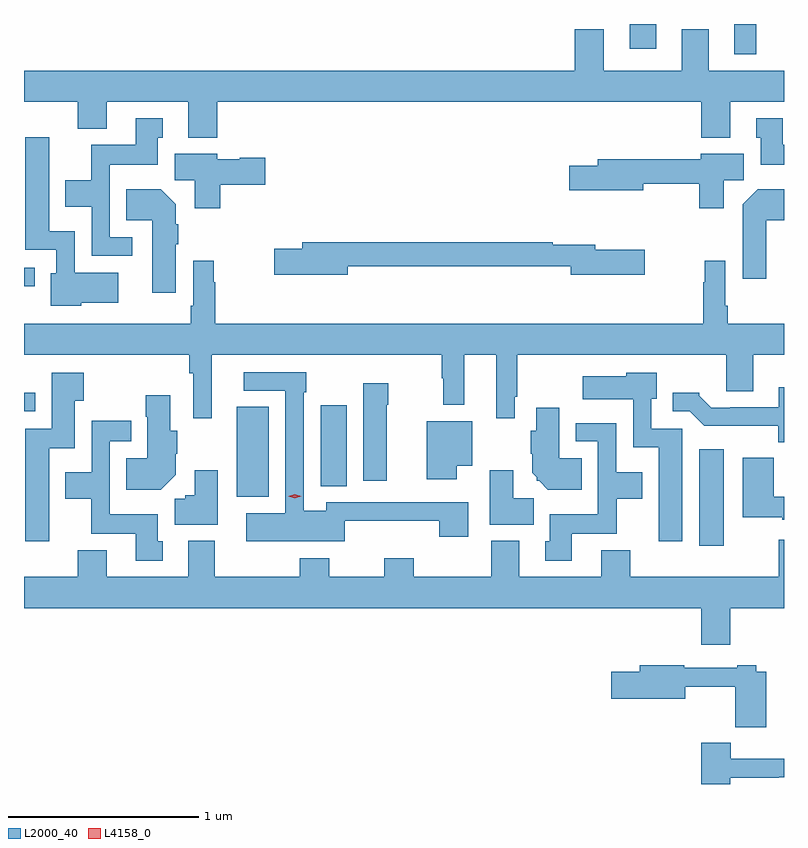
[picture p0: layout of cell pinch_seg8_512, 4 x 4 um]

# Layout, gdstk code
import gdstk
lib = gdstk.Library(unit=1e-6, precision=1e-09)
def R(c, l, rs):  # rectangles x0, y0, x1, y1
    for r in rs: c.add(gdstk.rectangle(r[:2], r[2:], *l))
def P(c, l, *ps):  # polygons
    for p in ps: c.add(gdstk.Polygon(p, *l))
L2000_40 = (2000, 40)
L4158_0 = (4158, 0)

pinch_seg8_512 = lib.new_cell('pinch_seg8_512')
R(pinch_seg8_512, L2000_40, [(230.177,1120.824,230.308,1121.332), (227.744,1121.081,227.911,1121.555), (228.185,1121.137,228.322,1121.563), (226.624,1121.532,226.684,1121.629), (226.624,1122.191,226.681,1122.288), (230.363,1123.41,230.479,1123.57), (229.811,1123.44,229.951,1123.57)])
P(pinch_seg8_512, L2000_40, [(226.624,1123.16),(226.907,1123.16),(226.907,1123.019),(227.059,1123.019),(227.059,1123.16),(227.489,1123.16),(227.489,1122.971),(227.642,1122.971),(227.642,1123.16),(230.189,1123.16),(230.189,1122.971),(230.341,1122.971),(230.341,1123.16),(230.624,1123.16),(230.624,1123.324),(230.227,1123.324),(230.227,1123.543),(230.087,1123.543),(230.087,1123.324),(229.675,1123.324),(229.675,1123.543),(229.523,1123.543),(229.523,1123.324),(226.624,1123.324)],
  [(227.194,1122.447),(227.076,1122.447),(227.076,1122.83),(227.329,1122.83),(227.329,1122.972),(227.353,1122.972),(227.353,1123.075),(227.213,1123.075),(227.213,1122.934),(226.978,1122.934),(226.978,1122.748),(226.841,1122.748),(226.841,1122.608),(226.98,1122.608),(226.98,1122.351),(227.194,1122.351)],
  [(230.624,1122.934),(230.617,1122.934),(230.617,1123.075),(230.477,1123.075),(230.477,1122.972),(230.501,1122.972),(230.501,1122.83),(230.624,1122.83)],
  [(226.926,1122.104),(227.119,1122.104),(227.119,1122.262),(226.89,1122.262),(226.89,1122.478),(226.756,1122.478),(226.756,1122.973),(226.631,1122.973),(226.631,1122.381),(226.794,1122.381),(226.794,1122.258),(226.766,1122.258),(226.766,1122.086),(226.926,1122.086)],
  [(230.308,1122.748),(230.413,1122.748),(230.413,1122.886),(230.186,1122.886),(230.186,1122.859),(229.643,1122.859),(229.643,1122.825),(229.494,1122.825),(229.494,1122.695),(229.882,1122.695),(229.882,1122.73),(230.179,1122.73),(230.179,1122.6),(230.308,1122.6)],
  [(227.657,1122.725),(227.893,1122.725),(227.893,1122.867),(227.76,1122.867),(227.76,1122.859),(227.64,1122.859),(227.64,1122.886),(227.417,1122.886),(227.417,1122.748),(227.522,1122.748),(227.522,1122.6),(227.657,1122.6)],
  [(230.53,1122.536),(230.624,1122.536),(230.624,1122.7),(230.486,1122.7),(230.408,1122.622),(230.408,1122.228),(230.53,1122.228)],
  [(227.422,1122.412),(227.435,1122.412),(227.435,1122.515),(227.422,1122.515),(227.422,1122.622),(227.344,1122.7),(227.161,1122.7),(227.161,1122.536),(227.3,1122.536),(227.3,1122.156),(227.422,1122.156)],
  [(228.328,1122.294),(229.502,1122.294),(229.502,1122.251),(229.891,1122.251),(229.891,1122.381),(229.63,1122.381),(229.63,1122.407),(229.406,1122.407),(229.406,1122.422),(228.089,1122.422),(228.089,1122.386),(227.94,1122.386),(227.94,1122.251),(228.328,1122.251)],
  [(227.63,1122.212),(227.623,1122.212),(227.623,1122.325),(227.514,1122.325),(227.514,1122.088),(227.502,1122.088),(227.502,1121.992),(226.624,1121.992),(226.624,1121.828),(227.494,1121.828),(227.494,1121.732),(227.514,1121.732),(227.514,1121.496),(227.611,1121.496),(227.611,1121.828),(228.823,1121.828),(228.823,1121.705),(228.831,1121.705),(228.831,1121.565),(228.94,1121.565),(228.94,1121.828),(229.109,1121.828),(229.109,1121.496),(229.206,1121.496),(229.206,1121.608),(229.219,1121.608),(229.219,1121.828),(230.321,1121.828),(230.321,1121.638),(230.461,1121.638),(230.461,1121.828),(230.624,1121.828),(230.624,1121.992),(230.329,1121.992),(230.329,1122.088),(230.316,1122.088),(230.316,1122.325),(230.208,1122.325),(230.208,1122.212),(230.2,1122.212),(230.2,1121.992),(227.63,1121.992)],
  [(228.312,1120.955),(228.809,1120.955),(228.809,1120.872),(228.961,1120.872),(228.961,1121.052),(228.216,1121.052),(228.216,1121.008),(228.096,1121.008),(228.096,1121.633),(228.109,1121.633),(228.109,1121.736),(227.781,1121.736),(227.781,1121.64),(228,1121.64),(228,1120.996),(227.793,1120.996),(227.793,1120.847),(228.312,1120.847)],
  [(226.756,1121.336),(226.891,1121.336),(226.891,1121.587),(226.938,1121.587),(226.938,1121.734),(226.769,1121.734),(226.769,1121.439),(226.631,1121.439),(226.631,1120.848),(226.756,1120.848)],
  [(230.089,1121.439),(229.926,1121.439),(229.926,1121.598),(229.954,1121.598),(229.954,1121.734),(229.794,1121.734),(229.794,1121.716),(229.566,1121.716),(229.566,1121.594),(229.83,1121.594),(229.83,1121.342),(229.964,1121.342),(229.964,1120.848),(230.089,1120.848)],
  [(228.532,1121.567),(228.54,1121.567),(228.54,1121.68),(228.41,1121.68),(228.41,1121.166),(228.532,1121.166)],
  [(230.624,1121.659),(230.597,1121.659),(230.597,1121.553),(230.341,1121.553),(230.341,1121.55),(230.242,1121.55),(230.178,1121.614),(230.178,1121.629),(230.039,1121.629),(230.039,1121.532),(230.127,1121.532),(230.203,1121.456),(230.595,1121.456),(230.595,1121.369),(230.624,1121.369)],
  [(227.422,1121.198),(227.422,1121.308),(227.43,1121.308),(227.43,1121.43),(227.395,1121.43),(227.395,1121.617),(227.266,1121.617),(227.266,1121.504),(227.273,1121.504),(227.273,1121.284),(227.161,1121.284),(227.161,1121.12),(227.344,1121.12)],
  [(229.559,1121.284),(229.441,1121.284),(229.441,1121.551),(229.319,1121.551),(229.319,1121.43),(229.291,1121.43),(229.291,1121.308),(229.298,1121.308),(229.298,1121.209),(229.323,1121.184),(229.323,1121.166),(229.335,1121.166),(229.381,1121.12),(229.559,1121.12)],
  [(227.353,1120.848),(227.329,1120.848),(227.329,1120.99),(227.076,1120.99),(227.076,1121.373),(227.188,1121.373),(227.188,1121.481),(226.98,1121.481),(226.98,1121.212),(226.841,1121.212),(226.841,1121.072),(226.978,1121.072),(226.978,1120.886),(227.213,1120.886),(227.213,1120.746),(227.353,1120.746)],
  [(228.901,1121.246),(228.982,1121.246),(228.982,1121.479),(228.743,1121.479),(228.743,1121.175),(228.901,1121.175)],
  [(229.507,1120.886),(229.743,1120.886),(229.743,1121.072),(229.879,1121.072),(229.879,1121.212),(229.74,1121.212),(229.74,1121.469),(229.527,1121.469),(229.527,1121.373),(229.644,1121.373),(229.644,1120.99),(229.391,1120.99),(229.391,1120.848),(229.367,1120.848),(229.367,1120.746),(229.507,1120.746)],
  [(230.624,1121.083),(230.57,1121.083),(230.57,1121.287),(230.408,1121.287),(230.408,1120.973),(230.616,1120.973),(230.616,1120.961),(230.624,1120.961)],
  [(227.644,1121.221),(227.522,1121.221),(227.522,1121.09),(227.472,1121.09),(227.472,1121.072),(227.417,1121.072),(227.417,1120.934),(227.644,1120.934)],
  [(229.306,1121.073),(229.198,1121.073),(229.198,1121.221),(229.076,1121.221),(229.076,1120.934),(229.306,1120.934)],
  [(228.076,1120.759),(228.076,1120.66),(227.629,1120.66),(227.629,1120.849),(227.489,1120.849),(227.489,1120.66),(227.059,1120.66),(227.059,1120.801),(226.907,1120.801),(226.907,1120.66),(226.624,1120.66),(226.624,1120.496),(230.189,1120.496),(230.189,1120.302),(230.341,1120.302),(230.341,1120.496),(230.624,1120.496),(230.624,1120.855),(230.597,1120.855),(230.597,1120.66),(229.814,1120.66),(229.814,1120.801),(229.661,1120.801),(229.661,1120.66),(229.231,1120.66),(229.231,1120.849),(229.084,1120.849),(229.084,1120.66),(228.675,1120.66),(228.675,1120.759),(228.52,1120.759),(228.52,1120.66),(228.231,1120.66),(228.231,1120.759)],
  [(230.53,1120.162),(230.478,1120.162),(230.478,1120.195),(230.378,1120.195),(230.378,1120.182),(230.1,1120.182),(230.1,1120.195),(229.865,1120.195),(229.865,1120.161),(229.716,1120.161),(229.716,1120.019),(230.104,1120.019),(230.104,1120.081),(230.368,1120.081),(230.368,1119.869),(230.53,1119.869)],
  [(230.341,1119.603),(230.597,1119.603),(230.597,1119.606),(230.624,1119.606),(230.624,1119.703),(230.344,1119.703),(230.344,1119.787),(230.189,1119.787),(230.189,1119.57),(230.341,1119.57)])
P(pinch_seg8_512, L4158_0, [(228.049,1121.074),(228.014,1121.084),(228.014,1121.084),(228.014,1121.084),(228.049,1121.094),(228.083,1121.084),(228.084,1121.084),(228.083,1121.084)])

lib.write_gds('pinch_seg8_512.gds')
